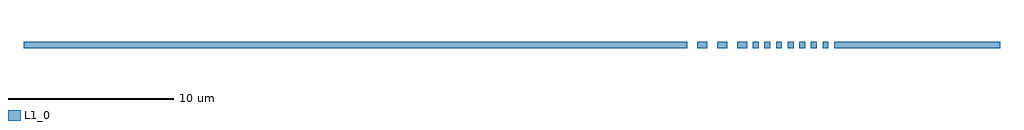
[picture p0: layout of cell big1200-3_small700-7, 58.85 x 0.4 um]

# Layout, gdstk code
import gdstk
lib = gdstk.Library(unit=1e-6, precision=1e-09)
def R(c, l, rs):  # rectangles x0, y0, x1, y1
    for r in rs: c.add(gdstk.rectangle(r[:2], r[2:], *l))
def A(c, l, x, y, w, h, nx, ny, dx, dy):  # array of equal rectangles
    R(c, l, [(x+i*dx, y+j*dy, x+i*dx+w, y+j*dy+h) for i in range(nx) for j in range(ny)])
L1_0 = (1, 0)

big1200_3_small700_7 = lib.new_cell('big1200-3_small700-7')
A(big1200_3_small700_7, L1_0, 0.6, 0, 0.6, 0.4, 3, 1, 1.2, 0)
A(big1200_3_small700_7, L1_0, 3.95, 0, 0.35, 0.4, 7, 1, 0.7, 0)
R(big1200_3_small700_7, L1_0, [(-40,0,0,0.4), (8.85,0,18.85,0.4)])

lib.write_gds('big1200-3_small700-7.gds')
